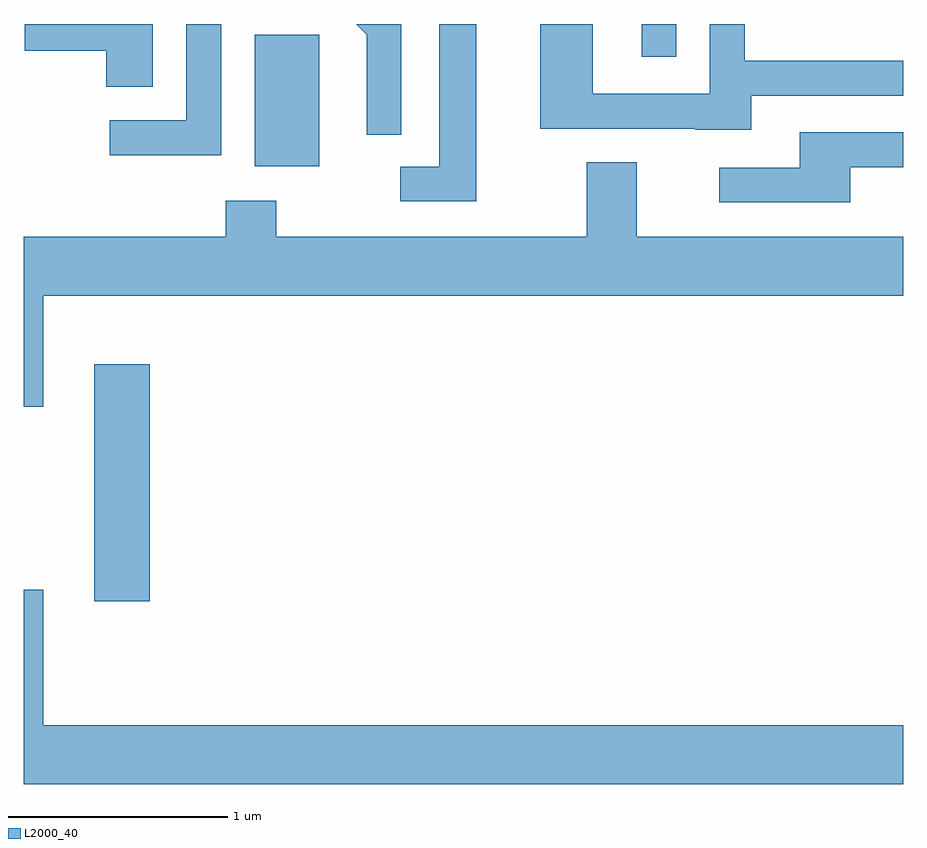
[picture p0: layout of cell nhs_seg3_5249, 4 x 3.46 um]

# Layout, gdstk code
import gdstk
lib = gdstk.Library(unit=1e-6, precision=1e-09)
def R(c, l, rs):  # rectangles x0, y0, x1, y1
    for r in rs: c.add(gdstk.rectangle(r[:2], r[2:], *l))
def P(c, l, *ps):  # polygons
    for p in ps: c.add(gdstk.Polygon(p, *l))
L2000_40 = (2000, 40)

nhs_seg3_5249 = lib.new_cell('nhs_seg3_5249')
R(nhs_seg3_5249, L2000_40, [(339.931,1151.266,340.184,1152.344), (340.661,1153.246,340.954,1153.844), (342.421,1153.743,342.579,1153.892), (343.041,1153.891,343.611,1153.892)])
P(nhs_seg3_5249, L2000_40, [(340.509,1153.892),(340.351,1153.892),(340.351,1153.454),(340.003,1153.454),(340.003,1153.296),(340.509,1153.296)],
  [(341.329,1153.892),(341.123,1153.892),(341.171,1153.844),(341.171,1153.388),(341.329,1153.388)],
  [(341.669,1153.892),(341.501,1153.892),(341.501,1153.244),(341.323,1153.244),(341.323,1153.086),(341.669,1153.086)],
  [(342.919,1153.566),(343.611,1153.566),(343.611,1153.724),(342.889,1153.724),(342.889,1153.892),(342.731,1153.892),(342.731,1153.574),(342.199,1153.574),(342.199,1153.892),(341.961,1153.892),(341.961,1153.416),(342.665,1153.416),(342.665,1153.411),(342.919,1153.411)],
  [(340.199,1153.892),(339.616,1153.892),(339.616,1153.771),(339.986,1153.771),(339.986,1153.606),(340.199,1153.606)],
  [(343.369,1153.241),(343.611,1153.241),(343.611,1153.399),(343.141,1153.399),(343.141,1153.239),(342.773,1153.239),(342.773,1153.081),(343.369,1153.081)],
  [(339.699,1152.656),(343.611,1152.656),(343.611,1152.924),(342.399,1152.924),(342.399,1153.264),(342.171,1153.264),(342.171,1152.924),(340.759,1152.924),(340.759,1153.089),(340.531,1153.089),(340.531,1152.924),(339.611,1152.924),(339.611,1152.151),(339.699,1152.151)],
  [(343.611,1150.704),(339.699,1150.704),(339.699,1151.319),(339.611,1151.319),(339.611,1150.436),(343.611,1150.436)])

lib.write_gds('nhs_seg3_5249.gds')
